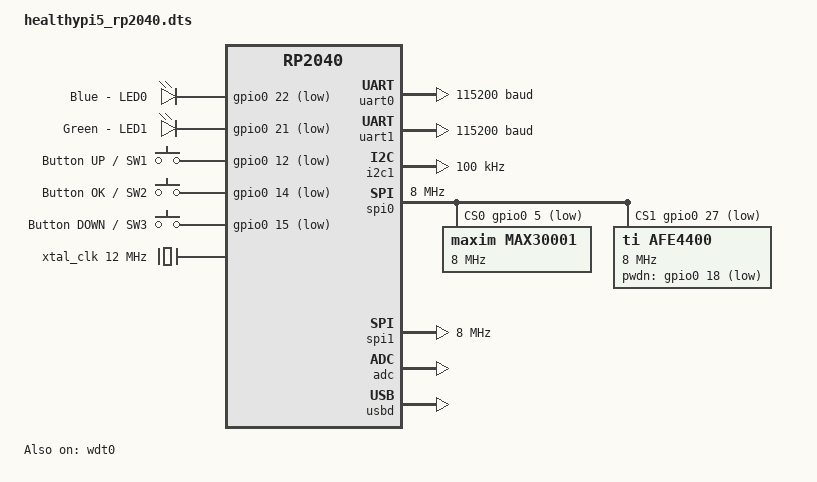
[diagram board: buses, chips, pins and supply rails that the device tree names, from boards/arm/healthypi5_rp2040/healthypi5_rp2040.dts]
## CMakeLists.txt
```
# SPDX-License-Identifier: Apache-2.0

cmake_minimum_required(VERSION 3.20.0)

find_package(Zephyr REQUIRED HINTS $ENV{ZEPHYR_BASE})
project(healthypi5_esp32c3)

FILE(GLOB app_sources src/*.c)
target_sources(app PRIVATE ${app_sources})

zephyr_library_link_libraries(MCUBOOT_BOOTUTIL)
```

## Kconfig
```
mainmenu "HealthyPi Project Configuration"

config HEALTHYPI_ESP_FW_VERSION
    string "Firmware Version"
    default "--"
    help
      Version name for display 

config HEALTHYPI_LOG_ENABLED
    bool "Enable logs"
    
source "Kconfig.zephyr"
```

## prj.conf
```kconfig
CONFIG_HEALTHYPI_ESP_FW_VERSION="1.0.1"
CONFIG_HEALTHYPI_LOG_ENABLED=n

CONFIG_SYSTEM_WORKQUEUE_STACK_SIZE=32768
CONFIG_MAIN_STACK_SIZE=32768

CONFIG_BT=y
CONFIG_BT_SMP=y
CONFIG_BT_PERIPHERAL=y
CONFIG_BT_BAS=y
CONFIG_BT_DIS=y
CONFIG_BT_DEVICE_NAME="HealthyPi 5"
CONFIG_BT_DEVICE_APPEARANCE=768
CONFIG_BT_DEVICE_NAME_DYNAMIC=y

#CONFIG_BT_CTLR_PRIVACY=n
#CONFIG_BT_PRIVACY=n

# Allow for large Bluetooth data packets.
CONFIG_BT_L2CAP_TX_MTU=498
CONFIG_BT_BUF_ACL_RX_SIZE=502
CONFIG_BT_BUF_ACL_TX_SIZE=502
CONFIG_BT_CTLR_DATA_LENGTH_MAX=251

CONFIG_FLASH=y
CONFIG_FLASH_PAGE_LAYOUT=y
CONFIG_FLASH_MAP=y

# Enable the LittleFS file system.
CONFIG_FILE_SYSTEM=y
CONFIG_FILE_SYSTEM_LITTLEFS=y
CONFIG_MPU_ALLOW_FLASH_WRITE=y

CONFIG_GPIO=y

#CONFIG_BT_KEYS_OVERWRITE_OLDEST=y
#CONFIG_BT_SETTINGS=y
#CONFIG_FLASH=y
#CONFIG_FLASH_PAGE_LAYOUT=y
#CONFIG_FLASH_MAP=y
#CONFIG_NVS=y
CONFIG_SETTINGS=y
CONFIG_SETTINGS_FILE=y
CONFIG_SETTINGS_FILE_PATH="/lfs1/settings"

CONFIG_LOG=y
#CONFIG_LOG_PROCESS_THREAD_STACK_SIZE=2048

CONFIG_SERIAL=y
CONFIG_RING_BUFFER=y
CONFIG_UART_INTERRUPT_DRIVEN=y

#CONFIG_THREAD_NAME=y

#### MCU Manager Stuff ####

# Enable MCUmgr and dependencies.
CONFIG_NET_BUF=y
CONFIG_ZCBOR=y
CONFIG_CRC=y
CONFIG_MCUMGR=y
CONFIG_STREAM_FLASH=y

# Enable the Bluetooth mcumgr transport (unauthenticated).
#CONFIG_MCUMGR_TRANSPORT_BT=y
#CONFIG_MCUMGR_TRANSPORT_BT_AUTHEN=n
#CONFIG_MCUMGR_TRANSPORT_BT_CONN_PARAM_CONTROL=y

# Enable the mcumgr Packet Reassembly feature over Bluetooth and its configuration dependencies.
# MCUmgr buffer size is optimized to fit one SMP packet divided into five Bluetooth Write Commands,
# transmitted with the maximum possible MTU value: 498 bytes.
CONFIG_MCUMGR_TRANSPORT_BT_REASSEMBLY=y
CONFIG_MCUMGR_TRANSPORT_NETBUF_SIZE=2475
CONFIG_MCUMGR_GRP_OS_MCUMGR_PARAMS=y
CONFIG_MCUMGR_TRANSPORT_WORKQUEUE_STACK_SIZE=4608

# Enable most core commands.
CONFIG_FLASH=y
#CONFIG_IMG_MANAGER=y
#CONFIG_MCUMGR_GRP_IMG=y
CONFIG_MCUMGR_GRP_OS=y
CONFIG_MCUMGR_GRP_STAT=y
# Enable file system commands
CONFIG_MCUMGR_GRP_FS=y

# Enable statistics and statistic names.
CONFIG_STATS=y
CONFIG_STATS_NAMES=y

# Ensure an MCUboot-compatible binary is generated.

#CONFIG_BOOTLOADER_MCUBOOT=y

# Enable console with MCUmgr pass through
CONFIG_BASE64=y
CONFIG_CONSOLE=y
CONFIG_UART_CONSOLE=y
#CONFIG_UART_CONSOLE_MCUMGR=y

# SMP Client
CONFIG_NET_BUF=y
CONFIG_SMP_CLIENT=y
CONFIG_MCUMGR_GRP_IMG_CLIENT=y
CONFIG_MCUMGR_GRP_OS_CLIENT=y
CONFIG_MCUMGR_GRP_OS_CLIENT_RESET=y
CONFIG_MCUMGR_SMP_CLIENT_LOG_LEVEL_DBG=y

#CONFIG_MCUMGR_TRANSPORT_UART=y

# Enable MCUboot util library
CONFIG_MCUBOOT_BOOTUTIL_LIB=y
```

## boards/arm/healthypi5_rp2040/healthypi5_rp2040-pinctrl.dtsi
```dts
/*
 * Copyright (c) 2021, Yonatan Schachter
 * SPDX-License-Identifier: Apache-2.0
 */

#include <zephyr/dt-bindings/pinctrl/rpi-pico-rp2040-pinctrl.h>

&pinctrl {
	uart0_default: uart0_default {
		group1 {
			pinmux = <UART0_TX_P0>;
		};
		group2 {
			pinmux = <UART0_RX_P1>;
			input-enable;
		};
	};

	uart1_default: uart1_default {
		group1 {
			pinmux = <UART1_TX_P24>,<UART1_CTS_P26>;

		};
		group2 {
			pinmux = <UART1_RX_P25>,<UART1_RTS_P27>;
			input-enable;
		};
	};

	i2c1_default: i2c1_default {
		group1 {
			pinmux = <I2C1_SDA_P6>, <I2C1_SCL_P7>;
			input-enable;
			input-schmitt-enable;
		};
	};

	spi0_default: spi0_default {
		group1 {
			pinmux = <SPI0_SCK_P2>, <SPI0_TX_P3>;
		};
		group2 {
			pinmux = <SPI0_RX_P4>;
			input-enable;
		};
	};

	spi1_default: spi1_default {
		group1 {
			pinmux = <SPI1_SCK_P10>, <SPI1_TX_P11>;
		};
		group2 {
			pinmux = <SPI1_RX_P8>;
			input-enable;
		};

	};

	/*pwm_ch1b_default: pwm_ch1b_default {
		group1 {
			pinmux = <PWM_1B_P19>; // Blue LED - GPIO 19
		};
	};*/

	adc_default: adc_default {
		group1 {
			pinmux = <ADC_CH1_P27>, <ADC_CH2_P28>;
			input-enable;
		};
	};
};
```

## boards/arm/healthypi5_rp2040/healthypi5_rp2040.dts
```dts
/*
 * Copyright (c) 2021 Yonatan Schachter
 *
 * SPDX-License-Identifier: Apache-2.0
 */

/dts-v1/;

#include <freq.h>

#include <rpi_pico/rp2040.dtsi>
#include "healthypi5_rp2040-pinctrl.dtsi"
#include <zephyr/dt-bindings/pwm/pwm.h>

#include <zephyr/dt-bindings/i2c/i2c.h>

/ {
	chosen {
		zephyr,sram = &sram0;
		zephyr,flash = &flash0;
		zephyr,flash-controller = &ssi;
		zephyr,console = &uart0; //&cdc_acm_uart0;
		zephyr,shell-uart = &uart0; //&cdc_acm_uart0;
		zephyr,code-partition = &code_partition;
		//zephyr,display = &ili9488; //&st7789v;
		//zephyr,keyboard-scan = &kscan_input;
	};

	leds {
		compatible = "gpio-leds";

		blue_led: led_0 {
			gpios = <&gpio0 22 GPIO_ACTIVE_LOW>;
			label = "Blue - LED0";

		};

		green_led: led_1 {
			gpios = <&gpio0 21 GPIO_ACTIVE_LOW>;
			label = "Green - LED1";
		};

	};

	gpio_keys {
		compatible = "gpio-keys";
		
		button_up: sw1 {
			label = "Button UP / SW1";
			gpios = <&gpio0 12 GPIO_ACTIVE_LOW>;
		};
		button_ok: sw2 {
			label = "Button OK / SW2";
			gpios = <&gpio0 14 GPIO_ACTIVE_LOW>;
		};
		button_down: sw3 {
			label = "Button DOWN / SW3";
			gpios = <&gpio0 15 GPIO_ACTIVE_LOW>;
		};
	};

	xtal_clk: xtal-clk { 
		compatible = "fixed-clock";
		clock-frequency = <12000000>;
		#clock-cells = <0>;
	};

	pwm_leds {
		compatible = "pwm-leds";
		status = "disabled";
		pwm_led0: pwm_led_0 {
			pwms = <&pwm 1 PWM_MSEC(20) PWM_POLARITY_NORMAL>;
			label = "PWM_LED";
		};
	};

	aliases {
		ledblue = &blue_led;
		ledgreen = &green_led;

		keyup = &button_up;
		keydown = &button_down;
		keyok = &button_ok;

		watchdog0 = &wdt0;
		pwm-led0 = &pwm_led0;

		esp-uart = &uart1;

		max30001 = &max30001;
		afe4400 = &afe4400;
	};
};

&flash0 {
	reg = <0x10000000 DT_SIZE_M(2)>;

	partitions {
		compatible = "fixed-partitions";
		#address-cells = <1>;
		#size-cells = <1>;

		/* Reserved memory for the second stage bootloader */
		second_stage_bootloader: partition@0 {
			label = "second_stage_bootloader";
			reg = <0x00000000 0x100>;
			read-only;
		};

		/*
		 * Usable flash. Starts at 0x100, after the bootloader. The partition
		 * size is 2MB minus the 0x100 bytes taken by the bootloader.
		 */
		code_partition: partition@100 {
			label = "code-partition";
			reg = <0x100 0x00100000>;
			//reg = <0x100 (DT_SIZE_M(2) - 0x100)>;
			read-only;
		};

		storage_partition: partition@100000 {
			label = "storage";
			reg = <0x00100000 (DT_SIZE_M(2) - 0x100000)>;
		};
	};
};

&uart0 {
	current-speed = <115200>;
	status = "okay";
	pinctrl-0 = <&uart0_default>;
	pinctrl-names = "default";
};

&uart1 {
	current-speed = <115200>;
	status = "okay";
	pinctrl-0 = <&uart1_default>;
	pinctrl-names = "default";
};

&gpio0 {
	status = "okay";
};

&i2c0 {
	clock-frequency = <I2C_BITRATE_STANDARD>;
	status = "disabled";
};

&i2c1 {
	clock-frequency = <I2C_BITRATE_STANDARD>;
	status = "okay";
	pinctrl-0 = <&i2c1_default>;
	pinctrl-names = "default";
};

&spi0 {
	clock-frequency = <DT_FREQ_M(8)>;
	status = "okay";
	pinctrl-0 = <&spi0_default>;
	pinctrl-names = "default";
	cs-gpios = < &gpio0 5 GPIO_ACTIVE_LOW>, <&gpio0 27 GPIO_ACTIVE_LOW>;

	max30001: max30001@0 {
		compatible = "maxim,max30001";
		reg = <0x0 >;
		spi-max-frequency = <DT_FREQ_M(8)>;
		status = "okay";
	};

	afe4400: afe4400@1 {
		compatible = "ti,afe4400";
		pwdn-gpios = <&gpio0 18 GPIO_ACTIVE_LOW>;
		reg = <0x1>;
		spi-max-frequency = <DT_FREQ_M(8)>;
		status = "okay";
	};
};

&spi1 {
	clock-frequency = <DT_FREQ_M(8)>;
	status = "okay";
	pinctrl-0 = <&spi1_default>;
	pinctrl-names = "default";
};

&wdt0 {
	status = "okay";
};

&adc {
	status = "okay";
	pinctrl-0 = <&adc_default>;
	pinctrl-names = "default";
};

zephyr_udc0: &usbd {
	status = "okay";
};


/*&pwm {
	pinctrl-0 = <&pwm_ch1b_default>;
	pinctrl-names = "default";
	divider-int-0 = <255>;
};*/

&vreg {
	regulator-always-on;
	regulator-allowed-modes = <REGULATOR_RPI_PICO_MODE_NORMAL>;
};
```

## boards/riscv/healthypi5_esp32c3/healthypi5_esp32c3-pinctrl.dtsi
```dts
/*
 * Copyright (c) 2022 Espressif Systems (Shanghai) Co., Ltd.
 *
 * SPDX-License-Identifier: Apache-2.0
 */

#include <zephyr/dt-bindings/pinctrl/esp-pinctrl-common.h>
#include <dt-bindings/pinctrl/esp32c3-pinctrl.h>
#include <zephyr/dt-bindings/pinctrl/esp32c3-gpio-sigmap.h>

&pinctrl {

	uart0_default: uart0_default {
		group1 {
			pinmux = <UART0_TX_GPIO21>;
		};
		group2 {
			pinmux = <UART0_RX_GPIO20>;
			bias-pull-up;
		};
	};

	uart1_default: uart1_default {
		group1 {
			pinmux = <UART1_TX_GPIO6>;
		};
		group2 {
			pinmux = <UART1_RX_GPIO7>;
			
			//input-enable;
			bias-pull-up;
		};
	};

	
	spim2_default: spim2_default {
		group1 {
			pinmux = <SPIM2_MISO_GPIO2>,
				 <SPIM2_SCLK_GPIO6>,
				 <SPIM2_CSEL_GPIO10>;
		};
		group2 {
			pinmux = <SPIM2_MOSI_GPIO7>;
			output-low;
		};
	};
	

	i2c0_default: i2c0_default {
		group1 {
			pinmux = <I2C0_SDA_GPIO1>,
				 <I2C0_SCL_GPIO3>;
			bias-pull-up;
			drive-open-drain;
			output-high;
		};
	};

	twai_default: twai_default {
		group1 {
			pinmux = <TWAI_TX_GPIO4>,
				 <TWAI_RX_GPIO5>;
		};
	};
};
```

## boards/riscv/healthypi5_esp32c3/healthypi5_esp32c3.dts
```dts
/*
 * Copyright (c) 2021 Espressif Systems (Shanghai) Co., Ltd.
 *
 * SPDX-License-Identifier: Apache-2.0
 */

 /dts-v1/;

#include <espressif/esp32c3/esp32c3_mini_n4.dtsi>
#include "healthypi5_esp32c3-pinctrl.dtsi"
#include <zephyr/dt-bindings/input/input-event-codes.h>
 
 / {
	 model = "healthypi5_esp32c3";
	 compatible = "espressif,esp32c3";
 
	 chosen {
		 zephyr,sram = &sram0;
		 zephyr,console = &uart0;
		 zephyr,shell-uart = &uart0;
		 zephyr,flash = &flash0;
		 zephyr,uart-mcumgr = &uart1;
	 };

	aliases {
		sw0 = &user_button1;
		i2c-0 = &i2c0;
		watchdog0 = &wdt0;
		
		rp-uart=&uart1;
		bootctrl=&boot_ctrl;
	};
	
	gpio_keys {
		 compatible = "gpio-keys";
		 user_button1: button_1 {
			 label = "User SW1";
			 gpios = <&gpio0 9 GPIO_ACTIVE_LOW>;
		 };		 
	 };

	leds {
		compatible = "gpio-leds";

		boot_ctrl: boot_ctrl_gpio {
			 label = "User RTS";
			 gpios = <&gpio0 4 GPIO_ACTIVE_HIGH>;
		};
	};
 };
 
 &cpu0 {
	 clock-frequency = <ESP32_CLK_CPU_160M>;

 };
 
 &uart0 {
	 status = "okay";
	 current-speed = <115200>;
	 pinctrl-0 = <&uart0_default>;
	 pinctrl-names = "default";
 };

  &uart1 {
	 status = "okay";
	 current-speed = <115200>;
	 pinctrl-0 = <&uart1_default>;
	 pinctrl-names = "default";
 };
 
 &usb_serial {
	 /* requires resoldering of resistors on the board */
	 status = "okay";
 };
 
 &i2c0 {
	 status = "okay";
	 clock-frequency = <I2C_BITRATE_STANDARD>;
	 pinctrl-0 = <&i2c0_default>;
	 pinctrl-names = "default";
 };
 
 &trng0 {
	 status = "okay";
 };
 
 &spi2 {
	 #address-cells = <1>;
	 #size-cells = <0>;
	 status = "okay";
	 pinctrl-0 = <&spim2_default>;
	 pinctrl-names = "default";
 };
 
 &gpio0 {
	 status = "okay";
 };
 
 &wdt0 {
	 status = "okay";
 };
 
 &timer0 {
	 status = "disabled";
 };
 
 &timer1 {
	 status = "disabled";
 };
 
 &twai {
	 /* requires external CAN transceiver or jumper on RX and TX pins for loopback testing */
	 status = "disabled";
	 pinctrl-0 = <&twai_default>;
	 pinctrl-names = "default";
	 bus-speed = <125000>;
 };
 
 &flash0 {
	 status = "okay";
	 partitions {
		 compatible = "fixed-partitions";
		 #address-cells = <1>;
		 #size-cells = <1>;
 
		 /* Reserve 60kB for the bootloader */
		 boot_partition: partition@0 {
			 label = "mcuboot";
			 reg = <0x00000000 0x0000F000>;
			 read-only;
		 };
 
		 /* Reserve 1024kB for the application in slot 0 */
		 slot0_partition: partition@10000 {
			 label = "image-0";
			 reg = <0x00010000 0x00100000>;
		 };
 
		 /* Reserve 1024kB for the application in slot 1 */
		 slot1_partition: partition@110000 {
			 label = "image-1";
			 reg = <0x00110000 0x00100000>;
		 };
 
		 /* Reserve 256kB for the scratch partition */
		 scratch_partition: partition@210000 {
				label = "image-scratch";
				reg = <0x00210000 0x00040000>;
		 };
		
		 // 1.5 MB LFS Storage partition
		 storage_partition: partition@250000 {
			 label = "storage";
			 reg = <0x00250000 0x1B0000>;
		 };
	 };
 }; 
```

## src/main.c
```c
#include <zephyr/kernel.h>
#include <zephyr/logging/log.h>

#include <zephyr/device.h>
#include <zephyr/drivers/uart.h>

#include <zephyr/sys/ring_buffer.h>

#include <zephyr/fs/fs.h>
#include <zephyr/fs/littlefs.h>

#include "hpi_data_service.h"
#include "cmd_module.h"
#include "ble_module.h"
#include "fs_module.h"

#include <zephyr/mgmt/mcumgr/smp/smp_client.h>

LOG_MODULE_REGISTER(ble_backend);

void main(void)
{
	int rc;

	printk("HealthyPi App started!\n");

	// Delay introduced only to allow logs to be printed on USB CDC
	//k_sleep(K_SECONDS(5));

	//fs_module_init();

	//Init BLE module
	ble_module_init();

	
	while (1)
	{
		k_sleep(K_MSEC(1000));
	}
}
```

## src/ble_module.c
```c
#include <zephyr/kernel.h>
#include <zephyr/logging/log.h>

#include <zephyr/bluetooth/bluetooth.h>
#include <zephyr/bluetooth/hci.h>
#include <zephyr/bluetooth/conn.h>
#include <zephyr/bluetooth/uuid.h>
#include <zephyr/bluetooth/gatt.h>
#include <zephyr/bluetooth/services/bas.h>
#include <zephyr/bluetooth/services/hrs.h>
#include <zephyr/sys/ring_buffer.h>

#include <zephyr/settings/settings.h>

#include "hpi_data_service.h"
#include "cmd_module.h"

#define LOG_LEVEL CONFIG_LOG_DEFAULT_LEVEL
LOG_MODULE_REGISTER(ble_module);

struct bt_conn *current_conn;

static const struct bt_data ad[] = {

	BT_DATA_BYTES(BT_DATA_FLAGS, (BT_LE_AD_GENERAL | BT_LE_AD_NO_BREDR)),
	BT_DATA_BYTES(BT_DATA_UUID16_ALL,
				  BT_UUID_16_ENCODE(BT_UUID_HRS_VAL),
				  BT_UUID_16_ENCODE(BT_UUID_BAS_VAL),
				  BT_UUID_16_ENCODE(BT_UUID_DIS_VAL))};

static void connected(struct bt_conn *conn, uint8_t err)
{
	if (err)
	{
		printk("Connection failed (err 0x%02x)\n", err);
	}
	else
	{
		printk("Connected\n");
		send_status_serial(BLE_STATUS_CONNECTED);
		current_conn = bt_conn_ref(conn);
	}
}

static void disconnected(struct bt_conn *conn, uint8_t reason)
{
	printk("Disconnected (reason 0x%02x)\n", reason);
	send_status_serial(BLE_STATUS_DISCONNECTED);
	if (current_conn)
	{
		bt_conn_unref(current_conn);
		current_conn = NULL;
	}
}

static void security_changed(struct bt_conn *conn, bt_security_t level,
							 enum bt_security_err err)
{
	char addr[BT_ADDR_LE_STR_LEN];

	bt_addr_le_to_str(bt_conn_get_dst(conn), addr, sizeof(addr));

	if (!err)
	{
		printk("Security changed: %s level %u\n", addr, level);
	}
	else
	{
		printk("Security failed: %s level %u err %d\n", addr, level,
			   err);
	}
}

BT_CONN_CB_DEFINE(conn_callbacks) = {
	.connected = connected,
	.disconnected = disconnected,
	.security_changed = security_changed,
};

static void bt_ready(void)
{
	int err;

	err = hpi_service_init();

	printk("Bluetooth initialized\n");

	if (IS_ENABLED(CONFIG_SETTINGS))
	{
		settings_load();
	}

	err = bt_le_adv_start(BT_LE_ADV_CONN_NAME, ad, ARRAY_SIZE(ad), NULL, 0);
	if (err)
	{
		printk("Advertising failed to start (err %d)\n", err);
		return;
	}

	printk("Advertising successfully started\n");
}

static void auth_passkey_confirm(struct bt_conn *conn, unsigned int passkey)
{
	char passkey_str[7];
	char addr[BT_ADDR_LE_STR_LEN];

	bt_addr_le_to_str(bt_conn_get_dst(conn), addr, sizeof(addr));

	snprintk(passkey_str, ARRAY_SIZE(passkey_str), "%06u", passkey);

	printk("Passkey for %s: %s\n", addr, passkey_str);

	// k_poll_signal_raise(&passkey_enter_signal, 0);
}

static void auth_passkey_display(struct bt_conn *conn, unsigned int passkey)
{
	char passkey_str[7];
	char addr[BT_ADDR_LE_STR_LEN];

	bt_addr_le_to_str(bt_conn_get_dst(conn), addr, sizeof(addr));

	snprintk(passkey_str, ARRAY_SIZE(passkey_str), "%06u", passkey);

	LOG_DBG("Passkey for %s: %s", addr, passkey_str);
}

static void auth_cancel(struct bt_conn *conn)
{
	char addr[BT_ADDR_LE_STR_LEN];

	bt_addr_le_to_str(bt_conn_get_dst(conn), addr, sizeof(addr));

	printk("Pairing cancelled: %s\n", addr);
}

static struct bt_conn_auth_cb auth_cb_display = {
	.cancel = auth_cancel,
	.passkey_display = auth_passkey_display,
	.passkey_confirm = auth_passkey_confirm,
};

void remove_separators(char *str)
{
	char *pr = str, *pw = str;
	char c = ':';
	while (*pr)
	{
		*pw = *pr++;
		pw += (*pw != c);
	}
	*pw = '\0';
}

void set_ble_name()
{
	bt_addr_le_t addrs;
	size_t count;

	char addr_str[50];
	size_t add_str_len;
	char dev_name[30] = "HPI5-";

	bt_id_get(&addrs, &count);

	bt_addr_le_to_str(&addrs, addr_str, 10);
	remove_separators(addr_str);
	strcat(dev_name, addr_str);
	bt_set_name(dev_name);
}

void ble_module_init(){
    int err=0;
    
    err = bt_enable(NULL);
	if (err)
	{
		LOG_ERR("Bluetooth init failed (err %d)", err);
		return;
	}

	bt_ready();
	set_ble_name();

	bt_conn_auth_cb_register(&auth_cb_display);
}
```

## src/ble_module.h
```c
void ble_module_init();
```

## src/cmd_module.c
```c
#include <zephyr/kernel.h>
#include <zephyr/logging/log.h>
#include <zephyr/device.h>
#include <zephyr/drivers/uart.h>
#include <zephyr/drivers/gpio.h>

#include "hpi_data_service.h"
#include "cmd_module.h"
#include "pc_smp_uart_client.h"
#include <zephyr/drivers/led.h>

#include "hw_module.h"

LOG_MODULE_REGISTER(cmd_module);

#define MAX_MSG_SIZE 32

#define UART_DEVICE_NODE DT_ALIAS(rp_uart)
static const struct device *const uart_dev = DEVICE_DT_GET(UART_DEVICE_NODE);

static volatile int ecs_rx_state = 0;

int cmd_pkt_len;
int cmd_pkt_pos_counter, cmd_pkt_data_counter;
int cmd_pkt_pkttype;

uint8_t ces_pkt_data_buffer[1000]; // = new char[1000];

volatile bool cmd_module_ble_connected = false;

K_SEM_DEFINE(sem_ble_connected, 0, 1);
K_SEM_DEFINE(sem_ble_disconnected, 0, 1);

struct hpi_cmd_data_obj_t
{
    void *fifo_reserved; /* 1st word reserved for use by FIFO */

    uint8_t pkt_type;
    uint8_t data_len;
    uint8_t data[MAX_MSG_SIZE];
};

K_FIFO_DEFINE(cmd_data_fifo);

struct hpi_cmd_data_obj_t cmd_data_obj;

void ces_parse_packet(char rxch)
{
    // printk("%0x\n", rxch);

    switch (ecs_rx_state)
    {
    case CMD_SM_STATE_INIT:
        if (rxch == CES_CMDIF_PKT_START_1)
            ecs_rx_state = CMD_SM_STATE_SOF1_FOUND;
        break;

    case CMD_SM_STATE_SOF1_FOUND:
        if (rxch == CES_CMDIF_PKT_START_2)
            ecs_rx_state = CMD_SM_STATE_SOF2_FOUND;
        else
            ecs_rx_state = CMD_SM_STATE_INIT; // Invalid Packet, reset state to init
        break;

    case CMD_SM_STATE_SOF2_FOUND:

        ecs_rx_state = CMD_SM_STATE_PKTLEN_FOUND;
        cmd_pkt_len = (int)rxch;
        cmd_pkt_pos_counter = CES_CMDIF_IND_LEN;
        cmd_pkt_data_counter = 0;
        break;

    case CMD_SM_STATE_PKTLEN_FOUND:

        cmd_pkt_pos_counter++;
        if (cmd_pkt_pos_counter < CES_CMDIF_PKT_OVERHEAD) // Read Header
        {
            if (cmd_pkt_pos_counter == CES_CMDIF_IND_LEN_MSB)
                cmd_pkt_len = (int)((rxch << 8) | cmd_pkt_len);
            else if (cmd_pkt_pos_counter == CES_CMDIF_IND_PKTTYPE)
            {
                cmd_pkt_pkttype = (int)rxch;
                ces_pkt_data_buffer[cmd_pkt_data_counter++] = (char)(rxch);
            }
        }
        else if ((cmd_pkt_pos_counter >= CES_CMDIF_PKT_OVERHEAD) && (cmd_pkt_pos_counter < CES_CMDIF_PKT_OVERHEAD + cmd_pkt_len + 1)) // Read Data
        {
            ces_pkt_data_buffer[cmd_pkt_data_counter++] = (char)(rxch); // Buffer that assigns the data separated from the packet
        }
        else // All data received
        {
            if (rxch == CES_CMDIF_PKT_STOP_2)
            {
                printk("Packet Received len: %d, type: %d\n", cmd_pkt_len, cmd_pkt_pkttype);
                cmd_pkt_pos_counter = 0;
                cmd_pkt_data_counter = 0;
                ecs_rx_state = 0;
                cmd_data_obj.pkt_type = cmd_pkt_pkttype;
                cmd_data_obj.data_len = cmd_pkt_len + 1; //+1 for the packet type

                memcpy(cmd_data_obj.data, ces_pkt_data_buffer, cmd_pkt_len + 1);

                k_fifo_put(&cmd_data_fifo, &cmd_data_obj);
            }
        }
    }
}

void hpi_decode_progress_packet(uint8_t *in_pkt_buf, uint8_t pkt_len)
{
    uint16_t prog_time = in_pkt_buf[0] | (in_pkt_buf[1] << 8);
    uint16_t prog_current = in_pkt_buf[2] | (in_pkt_buf[3] << 8);
    uint16_t prog_imped = in_pkt_buf[4] | (in_pkt_buf[5] << 8);

    printk("Progress recd: %d time: %d current: %d imped: %d\n", pkt_len, prog_time, prog_current, prog_imped);
    send_progress_ble(prog_time, prog_current, prog_imped);
}

void cmdif_send_uart(char *buf, uint8_t buf_size)
{
    // int msg_len = strlen(buf);

    for (int i = 0; i < buf_size; i++)
    {
        // printk("S %x\n", buf[i]);
        uart_poll_out(uart_dev, buf[i]);
        k_sleep(K_USEC(100));
    }
}

void cmdif_send_ble_progress(uint16_t m_time, uint16_t m_current, uint16_t m_imped)
{
    uint8_t cmd_pkt[11];
    cmd_pkt[0] = CES_CMDIF_PKT_START_1;
    cmd_pkt[1] = CES_CMDIF_PKT_START_2;
    cmd_pkt[2] = 0x04;
    cmd_pkt[3] = 0x00;
    cmd_pkt[4] = CES_CMDIF_TYPE_PROGRESS;
    cmd_pkt[5] = (uint8_t)(m_time & 0x00FF);
    cmd_pkt[6] = (uint8_t)((m_time >> 8) & 0x00FF);
    cmd_pkt[7] = (uint8_t)(m_current & 0x00FF);
    cmd_pkt[8] = (uint8_t)((m_current >> 8) & 0x00FF);
    cmd_pkt[9] = CES_CMDIF_PKT_STOP_1;
    cmd_pkt[10] = CES_CMDIF_PKT_STOP_2;

    for (int i = 0; i < 11; i++)
    {
        uart_poll_out(uart_dev, cmd_pkt[i]);
    }
}

void cmdif_send_ble_command(uint8_t m_cmd)
{
    uint8_t cmd_pkt[6];
    cmd_pkt[0] = CES_CMDIF_PKT_START_1;
    cmd_pkt[1] = CES_CMDIF_PKT_START_2;
    cmd_pkt[2] = 0x01;
    cmd_pkt[3] = 0x00;
    cmd_pkt[4] = CES_CMDIF_TYPE_CMD;
    cmd_pkt[4] = m_cmd;
    cmd_pkt[5] = CES_CMDIF_PKT_STOP_1;
    cmd_pkt[6] = CES_CMDIF_PKT_STOP_2;

    for (int i = 0; i < 6; i++)
    {
        uart_poll_out(uart_dev, cmd_pkt[i]);
    }
}

void send_data_serial(uint8_t *in_data_buf, uint8_t in_data_len)
{
    uint8_t dataPacket[50];

    dataPacket[0] = CES_CMDIF_PKT_START_1;
    dataPacket[1] = CES_CMDIF_PKT_START_2;
    dataPacket[2] = in_data_len;
    dataPacket[3] = 0;
    dataPacket[4] = CES_CMDIF_TYPE_DATA;

    for (int i = 0; i < in_data_len; i++)
    {
        dataPacket[i + 5] = in_data_buf[i];
        printk("Data %x: %d\n", i, in_data_buf[i]);
    }

    dataPacket[in_data_len + 5] = CES_CMDIF_PKT_STOP_1;
    dataPacket[in_data_len + 6] = CES_CMDIF_PKT_STOP_2;

    printk("Sending UART data: %d\n", in_data_len);

    cmdif_send_uart(dataPacket, in_data_len + 7);
}



void send_cmdif_cmd_reset_rp(void)
{
    uint8_t dataPacket[10];

    dataPacket[0] = CES_CMDIF_PKT_START_1;
    dataPacket[1] = CES_CMDIF_PKT_START_2;
    dataPacket[2] = 1;
    dataPacket[3] = 0;
    dataPacket[4] = CES_CMDIF_TYPE_CMD;

    dataPacket[5] = HPI_CMD_RESET;

    dataPacket[6] = CES_CMDIF_PKT_STOP_1;
    dataPacket[7] = CES_CMDIF_PKT_STOP_2;

    printk("Sending CMD Reset\n");

    cmdif_send_uart(dataPacket, 8);
}

void send_status_serial(uint8_t in_status_buf)
{
    uint8_t dataPacket[50];

    dataPacket[0] = CES_CMDIF_PKT_START_1;
    dataPacket[1] = CES_CMDIF_PKT_START_2;
    dataPacket[2] = 1;
    dataPacket[3] = 0;
    dataPacket[4] = CES_CMDIF_TYPE_STATUS;
    dataPacket[5] = in_status_buf;
    dataPacket[6] = CES_CMDIF_PKT_STOP_1;
    dataPacket[7] = CES_CMDIF_PKT_STOP_2;

    printk("Sending status %d \n", in_status_buf);
    cmdif_send_uart(dataPacket, 8);
}

void cmd_serial_cb(const struct device *dev, void *user_data)
{
    uint8_t c;

    if (!uart_irq_update(uart_dev))
    {
        return;
    }

    if (!uart_irq_rx_ready(uart_dev))
    {
        return;
    }

    while (uart_fifo_read(uart_dev, &c, 1) == 1)
    {
        ces_parse_packet(c);
        // printk("R: %X\n", c);
    }
}

static void cmd_init(void)
{
    int ret=0;

    printk("CMD Module Init\n");

    if (!device_is_ready(uart_dev))
    {
        printk("UART device not found!");
        return;
    }

    /* configure interrupt and callback to receive data */
    ret = uart_irq_callback_user_data_set(uart_dev, cmd_serial_cb, NULL);

    if (ret < 0)
    {
        if (ret == -ENOTSUP)
        {
            printk("Interrupt-driven UART API support not enabled\n");
        }
        else if (ret == -ENOSYS)
        {
            printk("UART device does not support interrupt-driven API\n");
        }
        else
        {
            printk("Error setting UART callback: %d\n", ret);
        }
        return;
    }
    uart_irq_rx_enable(uart_dev);

    // smp_mcu_reset();
    // pc_smp_image_upload();
    
    k_sleep(K_MSEC(5000));

    //pc_smp_boot_rp();
    pc_smp_get_image_state();
    
}

void cmd_thread(void)
{
    struct hpi_cmd_data_obj_t *rx_cmd_data_obj;

    // k_sleep(K_MSEC(5000));
    printk("CMD Thread Started\n");

    cmd_init();

    for (;;)
    {
        rx_cmd_data_obj = k_fifo_get(&cmd_data_fifo, K_FOREVER);
        printk("Recd Data: %d Type: %d \n", rx_cmd_data_obj->data_len, rx_cmd_data_obj->pkt_type);

        if (rx_cmd_data_obj->pkt_type == CES_CMDIF_TYPE_DATA)
        {
            // hpi_decode_data_packet(rx_cmd_data_obj->data, rx_cmd_data_obj->data_len);
        }
        else if (rx_cmd_data_obj->pkt_type == CES_CMDIF_TYPE_STATUS)
        {
            send_data_ble(rx_cmd_data_obj->data, rx_cmd_data_obj->data_len);
        }
        else if (rx_cmd_data_obj->pkt_type == CES_CMDIF_TYPE_PROGRESS)
        {
            send_data_ble(rx_cmd_data_obj->data, rx_cmd_data_obj->data_len);
            // hpi_decode_progress_packet(rx_cmd_data_obj->data, rx_cmd_data_obj->data_len);
            //  printk("Recd Progress Data\n");
            //  hpi_decode_command(rx_cmd_data_obj->data[0]);
        }
        else
        {
            printk("Recd Unknown Data\n");
        }
    
        k_sleep(K_MSEC(1000));
    }
}

#define CMD_THREAD_STACKSIZE 8192
#define CMD_THREAD_PRIORITY 7

K_THREAD_DEFINE(cmd_thread_id, CMD_THREAD_STACKSIZE, cmd_thread, NULL, NULL, NULL, CMD_THREAD_PRIORITY, 0, 0);
```

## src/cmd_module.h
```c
#pragma once

void cmdif_send_ble_progress(uint16_t m_time, uint16_t m_current, uint16_t m_imped);
void cmdif_send_ble_command(uint8_t m_cmd);

void cmdif_send_uart(char* buf, uint8_t buf_size);
void send_data_serial(uint8_t *in_data_buf, uint8_t in_data_len);
void send_status_serial(uint8_t in_status_buf);

#define CES_CMDIF_PKT_START_1   0x0A
#define CES_CMDIF_PKT_START_2   0xFA
#define CES_CMDIF_PKT_STOP_1    0x00
#define CES_CMDIF_PKT_STOP_2    0x0B

enum cmdsm_state
{
    CMD_SM_STATE_INIT = 0,
    CMD_SM_STATE_SOF1_FOUND,
    CMD_SM_STATE_SOF2_FOUND,
    CMD_SM_STATE_PKTLEN_FOUND,
};

enum cmdsm_index {
    CES_CMDIF_IND_LEN = 2,
    CES_CMDIF_IND_LEN_MSB,
    CES_CMDIF_IND_PKTTYPE,
    CES_CMDIF_PKT_OVERHEAD,
};

enum hpi_cmds
{
    HPI_CMD_GET_DEVICE_STATUS = 0x40,
    HPI_CMD_RESET = 0x41,
};

enum cmdif_pkt_type
{
    CES_CMDIF_TYPE_CMD = 0x01,
    CES_CMDIF_TYPE_DATA = 0x02,
    CES_CMDIF_TYPE_STATUS = 0x03,
    CES_CMDIF_TYPE_PROGRESS = 0x04,
};


enum ble_status
{
    BLE_STATUS_CONNECTED,
    BLE_STATUS_DISCONNECTED,
    BLE_STATUS_CONNECTING,
};
```

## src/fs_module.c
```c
#include <zephyr/kernel.h>
#include <zephyr/drivers/spi.h>
#include <zephyr/drivers/dac.h>
#include <zephyr/logging/log.h>
#include <zephyr/device.h>
#include <stdio.h>

#include <zephyr/sys/reboot.h>

#include <zephyr/fs/fs.h>
#include <zephyr/fs/littlefs.h>
#include <zephyr/storage/flash_map.h>
#include <zephyr/random/rand32.h>

LOG_MODULE_REGISTER(fs_module);

#define STORAGE_PARTITION_LABEL storage_partition
#define STORAGE_PARTITION_ID FIXED_PARTITION_ID(STORAGE_PARTITION_LABEL)

FS_LITTLEFS_DECLARE_DEFAULT_CONFIG(cstorage);
static struct fs_mount_t lfs_storage_mnt = {
    .type = FS_LITTLEFS,
    .fs_data = &cstorage,
    .storage_dev = (void *)STORAGE_PARTITION_ID,
    .mnt_point = "/lfs1"};

struct fs_mount_t *mp =&lfs_storage_mnt;

static int lsdir(const char *path)
{
    int res;
    struct fs_dir_t dirp;
    static struct fs_dirent entry;

    fs_dir_t_init(&dirp);

    /* Verify fs_opendir() */
    res = fs_opendir(&dirp, path);
    if (res)
    {
        LOG_ERR("Error opening dir %s [%d]\n", path, res);
        return res;
    }

    LOG_PRINTK("\nListing dir %s ...\n", path);
    for (;;)
    {
        /* Verify fs_readdir() */
        res = fs_readdir(&dirp, &entry);

        /* entry.name[0] == 0 means end-of-dir */
        if (res || entry.name[0] == 0)
        {
            if (res < 0)
            {
                LOG_ERR("Error reading dir [%d]\n", res);
            }
            break;
        }

        if (entry.type == FS_DIR_ENTRY_DIR)
        {
            LOG_PRINTK("[DIR ] %s\n", entry.name);
        }
        else
        {
            LOG_PRINTK("[FILE] %s (size = %zu)\n",
                       entry.name, entry.size);
        }
    }

    /* Verify fs_closedir() */
    fs_closedir(&dirp);

    return res;
}

static int littlefs_flash_erase(unsigned int id)
{
    const struct flash_area *pfa;
    int rc;

    rc = flash_area_open(id, &pfa);
    if (rc < 0)
    {
        LOG_ERR("FAIL: unable to find flash area %u: %d\n",
                id, rc);
        return rc;
    }

    printk("Area %u at 0x%x on %s for %u bytes\n",
           id, (unsigned int)pfa->fa_off, pfa->fa_dev->name,
           (unsigned int)pfa->fa_size);

    /* Optional wipe flash contents */
    if (IS_ENABLED(CONFIG_APP_WIPE_STORAGE))
    {
        rc = flash_area_erase(pfa, 0, pfa->fa_size);
        LOG_ERR("Erasing flash area ... %d", rc);
    }

    flash_area_close(pfa);
    return rc;
}

static int littlefs_mount(struct fs_mount_t *mp)
{
    int rc;

    printk("Erase flash...\n");

    rc = littlefs_flash_erase((uintptr_t)mp->storage_dev);
    if (rc < 0)
    {
        return rc;
    }

    /* Do not mount if auto-mount has been enabled */
#if !DT_NODE_EXISTS(PARTITION_NODE) || \
    !(FSTAB_ENTRY_DT_MOUNT_FLAGS(PARTITION_NODE) & FS_MOUNT_FLAG_AUTOMOUNT)
    rc = fs_mount(mp);
    if (rc < 0)
    {
        printk("FAIL: mount id %" PRIuPTR " at %s: %d\n",
               (uintptr_t)mp->storage_dev, mp->mnt_point, rc);
        return rc;
    }
    printk("%s mount: %d\n", mp->mnt_point, rc);
#else
    printk("%s automounted\n", mp->mnt_point);
#endif

    return 0;
}

void fs_module_init(void)
{
    int rc;
    struct fs_statvfs sbuf;

    printk("Initing FS...\n");

    rc = littlefs_mount(mp);
    if (rc < 0)
    {
        return;
    }

    rc = fs_statvfs(mp->mnt_point, &sbuf);
    if (rc < 0)
    {
        // printk("FAIL: statvfs: %d\n", rc);
        // goto out;
    }

    rc = lsdir(mp->mnt_point);
    if (rc < 0)
    {
        LOG_PRINTK("FAIL: lsdir %s: %d\n", mp->mnt_point, rc);
        // goto out;
    }

    /*printk("%s: bsize = %lu ; frsize = %lu ;"
           " blocks = %lu ; bfree = %lu\n",
           mp->mnt_point,
           sbuf.f_bsize, sbuf.f_frsize,
           sbuf.f_blocks, sbuf.f_bfree);*/
}
```

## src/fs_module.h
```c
void fs_module_init(void);
```

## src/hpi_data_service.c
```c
#include <zephyr/kernel.h>
#include <zephyr/logging/log.h>

#include <zephyr/bluetooth/bluetooth.h>
#include <zephyr/bluetooth/hci.h>
#include <zephyr/bluetooth/conn.h>
#include <zephyr/bluetooth/uuid.h>
#include <zephyr/bluetooth/gatt.h>
#include <zephyr/bluetooth/services/bas.h>
#include <zephyr/bluetooth/services/hrs.h>

#include "hpi_data_service.h"

#include "cmd_module.h"

#define MAX_TRANSMIT_SIZE 240
uint8_t data_rx[MAX_TRANSMIT_SIZE];
uint8_t data_tx[MAX_TRANSMIT_SIZE];

#define BT_UUID_HPI_DATA_SERVICE BT_UUID_DECLARE_128(HPI_DATA_SERVICE_UUID)
#define BT_UUID_HPI_DATA_SERVICE_RX BT_UUID_DECLARE_128(RX_CHARACTERISTIC_UUID)
#define BT_UUID_HPI_DATA_SERVICE_TX BT_UUID_DECLARE_128(TX_CHARACTERISTIC_UUID)

extern struct bt_conn *current_conn;

/* This function is called whenever the CCCD register has been changed by the client*/
void on_cccd_changed(const struct bt_gatt_attr *attr, uint16_t value)
{
    ARG_UNUSED(attr);
    switch (value)
    {
    case BT_GATT_CCC_NOTIFY:
        // Start sending stuff!
        break;

    case BT_GATT_CCC_INDICATE:
        // Start sending stuff via indications
        break;

    case 0:
        // Stop sending stuff
        break;

    default:
        printk("Error, CCCD has been set to an invalid value");
    }
}

volatile uint8_t in_data_buffer[50];

/* This function is called whenever the RX Characteristic has been written to by a Client */
static ssize_t on_receive(struct bt_conn *conn,
                          const struct bt_gatt_attr *attr,
                          const void *buf,
                          uint16_t len,
                          uint16_t offset,
                          uint8_t flags)
{
    const uint8_t *buffer = buf;

    printk("Received data len %d \n", len);

    for (uint8_t i = 0; i < len; i++)
    {
        in_data_buffer[i] = buffer[i];
        printk("%02X", buffer[i]);
    }
    printk("\n");
    
    send_data_serial(in_data_buffer, len);

    return len;
}

/* This function is called whenever a Notification has been sent by the TX Characteristic */
static void on_sent(struct bt_conn *conn, void *user_data)
{
    ARG_UNUSED(user_data);
    ARG_UNUSED(conn);

    //const bt_addr_le_t *addr = bt_conn_get_dst(conn);

    //printk("Data sent to Address 0x %02X %02X %02X %02X %02X %02X \n", addr->a.val[0], addr->a.val[1], addr->a.val[2], addr->a.val[3], addr->a.val[4], addr->a.val[5]);
}

/* LED Button Service Declaration and Registration */
BT_GATT_SERVICE_DEFINE(wiser_service,
                       BT_GATT_PRIMARY_SERVICE(BT_UUID_HPI_DATA_SERVICE),
                       BT_GATT_CHARACTERISTIC(BT_UUID_HPI_DATA_SERVICE_RX,
                                              BT_GATT_CHRC_WRITE | BT_GATT_CHRC_WRITE_WITHOUT_RESP,
                                              BT_GATT_PERM_READ | BT_GATT_PERM_WRITE,
                                              NULL, on_receive, NULL),
                       BT_GATT_CHARACTERISTIC(BT_UUID_HPI_DATA_SERVICE_TX,
                                              BT_GATT_CHRC_NOTIFY,
                                              BT_GATT_PERM_READ,
                                              NULL, NULL, NULL),
                       BT_GATT_CCC(on_cccd_changed,
                                   BT_GATT_PERM_READ | BT_GATT_PERM_WRITE), );

/* This function sends a notification to a Client with the provided data,
given that the Client Characteristic Control Descripter has been set to Notify (0x1).
It also calls the on_sent() callback if successful*/

void hpi_service_send(struct bt_conn *conn, const uint8_t *data, uint16_t len)
{
    /*
    The attribute for the TX characteristic is used with bt_gatt_is_subscribed
    to check whether notification has been enabled by the peer or not.
    Attribute table: 0 = Service, 1 = Primary service, 2 = RX, 3 = TX, 4 = CCC.
    */
    const struct bt_gatt_attr *attr = &wiser_service.attrs[3];

    struct bt_gatt_notify_params params =
        {
            .uuid = BT_UUID_HPI_DATA_SERVICE_TX,
            .attr = attr,
            .data = data,
            .len = len,
            .func = on_sent};

    // Check whether notifications are enabled or not
    if (bt_gatt_is_subscribed(conn, attr, BT_GATT_CCC_NOTIFY))
    {
        // Send the notification
        if (bt_gatt_notify_cb(conn, &params))
        {
            printk("Error, unable to send notification\n");
        }
    }
    else
    {
        printk("Warning, notification not enabled on the selected attribute\n");
    }
}

void send_progress_ble(uint16_t prog_time, uint16_t prog_curr, uint16_t prog_imped)
{
    uint8_t data[7];
    data[0] = CES_CMDIF_TYPE_PROGRESS;
    data[1] = prog_time >> 8;
    data[2] = prog_time & 0xFF;
    data[3] = prog_curr >> 8;
    data[4] = prog_curr & 0xFF;
    data[5] = prog_imped & 0xFF;
    data[6] = prog_imped >> 8;

    if (current_conn)
    {
        hpi_service_send(current_conn, data, 6);
    }
}

void send_data_ble(uint8_t *data, uint16_t len)
{
    if (current_conn)
    {
        hpi_service_send(current_conn, data, len);
    }
}
int hpi_service_init(void)
{
    int err = 0;

    memset(&data_rx, 0, MAX_TRANSMIT_SIZE);
    memset(&data_tx, 0, MAX_TRANSMIT_SIZE);

    return err;
}
```

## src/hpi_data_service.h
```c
#include <zephyr/kernel.h>
#include <zephyr/logging/log.h>

#include <zephyr/bluetooth/bluetooth.h>
#include <zephyr/bluetooth/hci.h>
#include <zephyr/bluetooth/conn.h>
#include <zephyr/bluetooth/uuid.h>
#include <zephyr/bluetooth/gatt.h>
#include <zephyr/bluetooth/services/bas.h>
#include <zephyr/bluetooth/services/hrs.h>

int hpi_service_init(void);
void hpi_service_send(struct bt_conn *conn, const uint8_t *data, uint16_t len);
void send_progress_ble(uint16_t prog_time, uint16_t prog_curr, uint16_t prog_imped);
void send_data_ble(uint8_t *data, uint16_t len);

/*Note that UUIDs have Least Significant Byte ordering */
/*
#define HPI_DATA_SERVICE_UUID 0xd4, 0x86, 0x48, 0x24, 0x54, 0xB3, 0x43, 0xA1, \
                           0xBC, 0x20, 0x97, 0x8F, 0xC3, 0x76, 0xC2, 0x75

#define RX_CHARACTERISTIC_UUID 0xA6, 0xE8, 0xC4, 0x60, 0x7E, 0xAA, 0x41, 0x6B, \
                               0x95, 0xD4, 0x9D, 0xCC, 0x08, 0x4F, 0xCF, 0x6A

#define TX_CHARACTERISTIC_UUID 0xED, 0xAA, 0x20, 0x11, 0x92, 0xE7, 0x43, 0x5A, \
                               0xAA, 0xE9, 0x94, 0x43, 0x35, 0x6A, 0xD4, 0xD3
*/

#define HPI_DATA_SERVICE_UUID 0xdc, 0xad, 0x7f, 0xc4, 0x23, 0x90, 0x4d, 0xd4, \
			            0x96, 0x8d, 0x0f, 0x97, 0x92, 0x74, 0xbf, 0x01

#define RX_CHARACTERISTIC_UUID  0xdc, 0xad, 0x7f, 0xc4, 0x23, 0x90, 0x4d, 0xd4, \
			            0x96, 0x8d, 0x0f, 0x97, 0x28, 0x15, 0xbf, 0x01

#define TX_CHARACTERISTIC_UUID  0xdc, 0xad, 0x7f, 0xc4, 0x23, 0x90, 0x4d, 0xd4, \
			            0x96, 0x8d, 0x0f, 0x97, 0x27, 0x15, 0xbf, 0x01

/*
static const String UUID_CHAR_CMD = "01bf1527-970f-8d96-d44d-9023c47faddc";
static const String UUID_SERV_CMD_DATA = "01bf7492-970f-8d96-d44d-9023c47faddc";
*/
```

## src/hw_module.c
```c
#include <zephyr/kernel.h>
#include <zephyr/logging/log.h>
#include <zephyr/device.h>
#include <zephyr/drivers/uart.h>
#include <zephyr/drivers/gpio.h>
#include <zephyr/drivers/led.h>

#define HW_THREAD_STACKSIZE 4096
#define HW_THREAD_PRIORITY 5

// Boot Control GPIO
static const struct gpio_dt_spec boot_ctrl_gpio = GPIO_DT_SPEC_GET(DT_ALIAS(bootctrl), gpios);

// User Button SW0
static struct gpio_dt_spec button_user = GPIO_DT_SPEC_GET_OR(DT_ALIAS(sw0), gpios, {0});
static struct gpio_callback button_user_cb;

#define GPIO_DEBOUNCE_TIME K_MSEC(60)
K_SEM_DEFINE(sem_user_key_pressed, 0, 1);

static void cooldown_expired_isr_user(struct k_work *work)
{
    ARG_UNUSED(work);

    int val = gpio_pin_get_dt(&button_user);
    // enum button_evt evt = val ? BUTTON_EVT_PRESSED : BUTTON_EVT_RELEASED;
    //  m_key_pressed = GPIO_KEYPAD_KEY_RIGHT;
    if (val == 0)
    {
        k_sem_give(&sem_user_key_pressed);
        printk("U\n");
    }
}

static K_WORK_DELAYABLE_DEFINE(cooldown_work_user, cooldown_expired_isr_user);

static void button_isr_user(const struct device *port,
                            struct gpio_callback *cb,
                            uint32_t pins)
{
    ARG_UNUSED(port);
    ARG_UNUSED(cb);
    ARG_UNUSED(pins);

    k_work_reschedule(&cooldown_work_user, GPIO_DEBOUNCE_TIME);
    printk("User Button Pressed\n");
}

void rp_set_boot_ctrl_on(void)
{
    gpio_pin_set_dt(&boot_ctrl_gpio, 1);
}

void hw_thread(int unused1, int unused2, int unused3)
{
    int ret = 0;

    if (!device_is_ready(boot_ctrl_gpio.port))
    {
        return;
    }

    ret = gpio_pin_configure_dt(&boot_ctrl_gpio, GPIO_OUTPUT);
    gpio_pin_set_dt(&boot_ctrl_gpio, 0);
    
    // Configure sw0 button

    ret = gpio_pin_configure_dt(&button_user, GPIO_INPUT);

    //gpio_init_callback(&button_user_cb, button_isr_user, BIT(button_user.pin));
    //ret = gpio_add_callback(button_user.port, &button_user_cb);
    //ret = gpio_pin_interrupt_configure_dt(&button_user, GPIO_INT_EDGE_TO_ACTIVE);

    printk("HW Thread started!\n");

    for (;;)
    {
        k_sleep(K_MSEC(1000));
    }
}

K_THREAD_DEFINE(hw_thread_id, HW_THREAD_STACKSIZE, hw_thread, NULL, NULL, NULL, HW_THREAD_PRIORITY, 0, 0);
```

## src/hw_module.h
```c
#pragma once

void rp_set_boot_ctrl_on(void);
```

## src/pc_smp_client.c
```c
/*
 * Copyright ProtoCentral Electronics 2023. All rights reserved.
 *
 * SPDX-License-Identifier: Apache-2.0
 */

/** @file
 * @brief Custom SMP Client to program another Zephyr device through SMP MCU Manager
 */
```

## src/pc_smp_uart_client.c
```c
/*
 * Copyright ProtoCentral Electronics 2023. All rights reserved.
 *
 * SPDX-License-Identifier: Apache-2.0
 */

/** @file
 * @brief Custom SMP Client to program another Zephyr device through SMP MCU Manager
 */

#include <zephyr/kernel.h>
#include <zephyr/logging/log.h>
#include <zephyr/device.h>
#include <zephyr/drivers/uart.h>

#include <zephyr/sys/base64.h>

#include <zephyr/net/buf.h>
#include <zephyr/mgmt/mcumgr/smp/smp_client.h>
#include <zephyr/mgmt/mcumgr/mgmt/mgmt.h>
#include <zephyr/mgmt/mcumgr/grp/img_mgmt/img_mgmt_client.h>
#include <zephyr/mgmt/mcumgr/grp/os_mgmt/os_mgmt.h>
#include <zephyr/mgmt/mcumgr/grp/os_mgmt/os_mgmt_client.h>

#include "hw_module.h"

// #include "pc_smp_uart_client.h"

#define UART_MTU_SIZE 128
#define UART_DEVICE_NODE DT_ALIAS(rp_uart)

static const struct device *const uart_dev = DEVICE_DT_GET(UART_DEVICE_NODE);

uint8_t smp_seq_num = 0;

static struct smp_client_object smp_client;
static struct img_mgmt_client img_client;
static struct os_mgmt_client os_client;
static struct mcumgr_image_data image_info[2];

#define TEST_IMAGE_NUM 1
#define TEST_IMAGE_SIZE 2048
#define TEST_SLOT_NUMBER 2

/* IMG group data */
static uint8_t image_hash[32];
static struct mcumgr_image_data image_info[2];
static uint8_t image_dummy[1024];

static struct net_buf *buf[5];

static struct smp_transport smpt_test;
static struct smp_client_transport_entry smp_client_transport;
struct mcumgr_image_state res_buf;

#define SMP_RESPONSE_WAIT_TIME 3

/* Test os_mgmt echo command with 40 bytes of data: "short MCUMGR test application message..." */
static const uint8_t command[] = {
    0x02,
    0x00,
    0x00,
    0x2e,
    0x00,
    0x00,
    0x01,
    0x00,
    0xbf,
    0x61,
    0x64,
    0x78,
    0x28,
    0x73,
    0x68,
    0x6f,
    0x72,
    0x74,
    0x20,
    0x4d,
    0x43,
    0x55,
    0x4d,
    0x47,
    0x52,
    0x20,
    0x74,
    0x65,
    0x73,
    0x74,
    0x20,
    0x61,
    0x70,
    0x70,
    0x6c,
    0x69,
    0x63,
    0x61,
    0x74,
    0x69,
    0x6f,
    0x6e,
    0x20,
    0x6d,
    0x65,
    0x73,
    0x73,
    0x61,
    0x67,
    0x65,
    0x2e,
    0x2e,
    0x2e,
    0xff,
};

static uint16_t smp_uart_get_mtu(const struct net_buf *nb)
{
    return 256;
}

static int smp_uart_tx_pkt(struct net_buf *nb)
{
    smp_packet_free(nb);
    return 0;
}

/*void stub_smp_client_transport_register(void)
{

    smpt_test.functions.output = smp_uart_tx_pkt;
    smpt_test.functions.get_mtu = smp_uart_get_mtu;

    smp_transport_init(&smpt_test);
    smp_client_transport.smpt = &smpt_test;
    smp_client_transport.smpt_type = SMP_SERIAL_TRANSPORT;
    smp_client_transport_register(&smp_client_transport);
}*/

static void setup_smp_client(void)
{
    smp_client_object_init(&smp_client, SMP_SERIAL_TRANSPORT);
    os_mgmt_client_init(&os_client, &smp_client);
    img_mgmt_client_init(&img_client, &smp_client, 2, image_info);
}

void pc_smp_image_upload(void)
{
    int rc = 0;
    struct mcumgr_image_upload response;

    setup_smp_client();
    rc = img_mgmt_client_upload_init(&img_client, TEST_IMAGE_SIZE, TEST_IMAGE_NUM, image_hash);

    rc = img_mgmt_client_upload(&img_client, image_dummy, 1024, &response);
}

void pc_smp_get_image_state(void)
{
    int rc = 0;

    setup_smp_client();

    rc = img_mgmt_client_state_read(&img_client, &res_buf);

    printk("Image state: %d\n", res_buf.image_list_length);

    if (res_buf.image_list_length == 0)
    {
        int i = 0;
        printk("Single Image %d: %d %s %s \n", i, res_buf.image_list[i].img_num, res_buf.image_list[i].hash, res_buf.image_list[i].version);
    }
    for (int i = 0; i < res_buf.image_list_length; i++)
    {
        printk("Image %d: %d %s %s \n", i, res_buf.image_list[i].img_num, res_buf.image_list[i].hash, res_buf.image_list[i].version);
    }
}

void smp_mcu_reset(void)
{
    int rc;

    printk("\nStarting SMP Client...\n");

    setup_smp_client();

    printk("Resetting device...\n");

    rc = os_mgmt_client_reset(&os_client);
    if (rc != 0)
    {
        printk("Error: %d\n", rc);
    }
    else
    {
        printk("Reset successful\n");
    }
}

void pc_smp_boot_rp(void)
{
    rp_set_boot_ctrl_on();
    k_sleep(K_MSEC(500));
    send_cmdif_cmd_reset_rp();
    k_sleep(K_MSEC(500));

    // Device should now be in Serial Recovery mode

    // pc_smp_get_image_state();
}

/*void smp_uart_send_cmd(uint8_t group_id, uint8_t op_id, uint8_t cmd_id)
{
    uint8_t pkt_buffer[UART_MTU_SIZE];

    struct smp_packet_t *pkt = (struct smp_packet_t *)pkt_buffer;
    //pkt.header.res = 0;
    pkt->header.group = group_id;
    pkt->header.op = op_id;
    pkt->header.id = cmd_id;

    pkt->header.ver=0;
    pkt->header.flags=0;
    pkt->header.len=0;

    printk("Sending cmd: %X\n", cmd_id);

    for(int i=0; i<sizeof(struct smp_packet_t); i++)
        printk("%X ", pkt_buffer[i]);
    printk("\n");
    smp_uart_send_uart(pkt_buffer, sizeof(struct smp_packet_t));
}
*/

char enc_buffer[UART_MTU_SIZE];

void smp_uart_send_uart(uint8_t *buf, uint8_t buf_size)
{
    int rc;
    uint8_t olen = 0;

    rc = base64_encode(enc_buffer, sizeof(enc_buffer), &olen, buf, buf_size);
    if (rc < 0)
    {
        printk("Error encoding base64\n");
        return;
    }

    printk("Encoded: %s\n", enc_buffer);
    printk("Encoded len: %d\n", olen);

    // uart_poll_out(uart_dev, enc_buffer);
}
```
